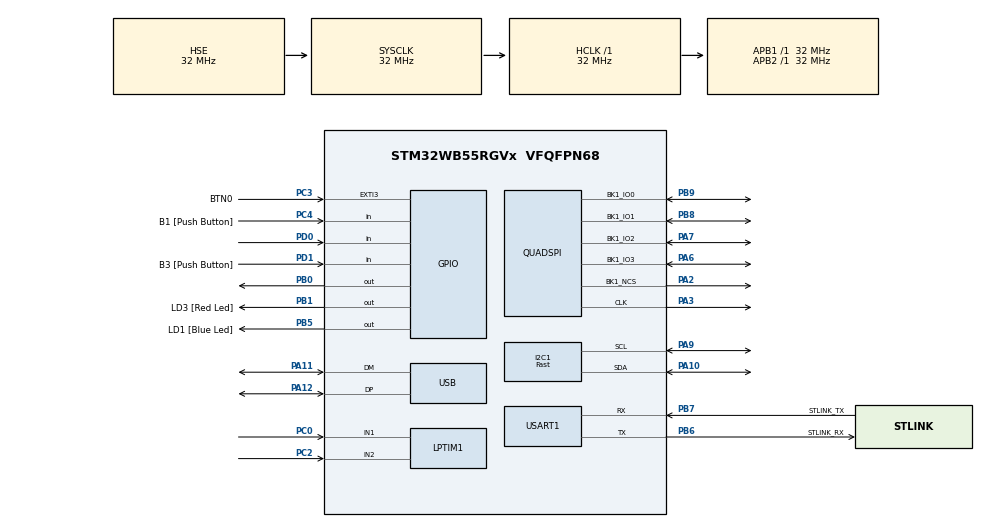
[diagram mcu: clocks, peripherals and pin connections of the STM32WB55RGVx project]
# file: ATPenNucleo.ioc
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I2C1.I2C_Speed_Mode=I2C_Fast
I2C1.Timing=0x00300F38
LPTIM1.ULPClockPolarity=LPTIM_CLOCKPOLARITY_RISING_FALLING
LPTIM1.ULPClockSampleTime=LPTIM_CLOCKSAMPLETIME_2TRANSITIONS
LPTIM1.UpdateMode=LPTIM_UPDATE_ENDOFPERIOD
Mcu.Family=STM32WB
Mcu.Name=STM32WB55RGVx
Mcu.Package=VFQFPN68
NVIC.EXTI3_IRQn=true\:0\:0\:false\:false\:true\:true\:true
NVIC.HSEM_IRQn=true\:0\:0\:false\:false\:true\:false\:true
NVIC.LPTIM1_IRQn=true\:0\:0\:false\:false\:true\:true\:true
NVIC.PriorityGroup=NVIC_PRIORITYGROUP_4
NVIC.USB_LP_IRQn=true\:0\:0\:false\:false\:true\:false\:true
OSC_IN.Mode=HSE-External-Oscillator
OSC_IN.Signal=RCC_OSC_IN
OSC_OUT.Mode=HSE-External-Oscillator
OSC_OUT.Signal=RCC_OSC_OUT
PA10.Mode=I2C
PA10.Signal=I2C1_SDA
PA11.Mode=Device
PA11.Signal=USB_DM
PA12.Mode=Device
PA12.Signal=USB_DP
PA13.GPIO_Label=JTMS
PA13.Mode=Trace_Asynchronous_SW
PA13.Signal=SYS_JTMS-SWDIO
PA14.GPIO_Label=JTCK
PA14.Mode=Trace_Asynchronous_SW
PA14.Signal=SYS_JTCK-SWCLK
PA2.Mode=Single Bank 1
PA2.Signal=QUADSPI_BK1_NCS
PA3.Mode=Single Bank 1
PA3.Signal=QUADSPI_CLK
PA6.Mode=Single Bank 1
PA6.Signal=QUADSPI_BK1_IO3
PA7.Mode=Single Bank 1
PA7.Signal=QUADSPI_BK1_IO2
PA9.Mode=I2C
PA9.Signal=I2C1_SCL
PB0.Signal=GPIO_Output
PB1.GPIO_Label=LD3 [Red Led]
PB1.Signal=GPIO_Output
PB3.GPIO_Label=JTDO
PB3.Mode=Trace_Asynchronous_SW
PB3.Signal=SYS_JTDO-SWO
PB5.GPIO_Label=LD1 [Blue Led]
PB5.Signal=GPIO_Output
PB6.GPIO_Label=STLINK_RX
PB6.GPIO_PuPd=GPIO_PULLUP
PB6.Mode=Asynchronous
PB6.Signal=USART1_TX
PB7.GPIO_Label=STLINK_TX
PB7.GPIO_PuPd=GPIO_PULLUP
PB7.Mode=Asynchronous
PB7.Signal=USART1_RX
PB8.Mode=Single Bank 1
PB8.Signal=QUADSPI_BK1_IO1
PB9.Mode=Single Bank 1
PB9.Signal=QUADSPI_BK1_IO0
PC0.Mode=Encoder_mode_occur1
PC0.Signal=LPTIM1_IN1
PC13.Mode=SYS_WakeUp1
PC13.Signal=SYS_WKUP2
PC14-OSC32_IN.Mode=LSE-External-Oscillator
PC14-OSC32_IN.Signal=RCC_OSC32_IN
PC15-OSC32_OUT.Mode=LSE-External-Oscillator
PC15-OSC32_OUT.Signal=RCC_OSC32_OUT
PC2.Mode=Encoder_mode_occur1
PC2.Signal=LPTIM1_IN2
PC3.GPIO_Label=BTN0
PC3.GPIO_ModeDefaultEXTI=GPIO_MODE_IT_FALLING
PC3.Signal=GPXTI3
PC4.GPIO_Label=B1 [Push Button]
PC4.Signal=GPIO_Input
PD0.Signal=GPIO_Input
PD1.GPIO_Label=B3 [Push Button]
PD1.Signal=GPIO_Input
ProjectManager.HeapSize=0x200
ProjectManager.StackSize=0x400
ProjectManager.TargetToolchain=STM32CubeIDE
RCC.ADCFreq_Value=48000000
RCC.AHBFreq_Value=32000000
RCC.APB1Freq_Value=32000000
RCC.APB1TimFreq_Value=32000000
RCC.APB2Freq_Value=32000000
RCC.APB2TimFreq_Value=32000000
RCC.APB3Freq_Value=16000000
RCC.CortexFreq_Value=32000000
RCC.HCLKFreq_Value=32000000
RCC.HSE_VALUE=32000000
RCC.HSI48_VALUE=48000000
RCC.HSI_VALUE=16000000
RCC.LPTIM1CLockSelection=RCC_LPTIM1CLKSOURCE_HSI
RCC.PLLN=32
RCC.PLLSAI1N=24
RCC.RFWKPClockSelection=RCC_RFWKPCLKSOURCE_LSE
RCC.RTCClockSelection=RCC_RTCCLKSOURCE_LSE
RCC.SMPSCLockSelectionVirtual=RCC_SMPSCLKSOURCE_HSI
RCC.SMPSCLockSelectionVirtualVirtual=RCC_SMPSCLKSOURCE_HSI
RCC.SMPSDivider=1
RCC.SYSCLKFreq_VALUE=32000000
RCC.SYSCLKSource=RCC_SYSCLKSOURCE_HSE
RCC.USBFreq_Value=48000000
RCC.VCOOutputFreq_Value=128000000
RF1.Mode=RF1_Activate
RF1.Signal=RF_RF1
RTC.Format=RTC_FORMAT_BIN
RTC.Hours=12
RTC.Minutes=20
RTC.Seconds=0
STM32_WPAN.LOCAL_NAME=ATPen
STM32_WPAN.LOCAL_NAME_FORMATTED=,'A','T','P','e','n'
USART1.VirtualMode-Asynchronous=VM_ASYNC
USART1.WordLength=WORDLENGTH_7B
USB_DEVICE.CLASS_NAME_FS=CDC
USB_DEVICE.USBD_DEBUG_LEVEL=3
USB_DEVICE.VirtualMode=Cdc
USB_DEVICE.VirtualModeFS=Cdc_FS
VP_HSEM_VS_HSEM.Mode=HSEM_Activate
VP_RTC_VS_RTC_Activate.Mode=RTC_Enabled
VP_RTC_VS_RTC_Calendar.Mode=RTC_Calendar
VP_SEQUENCER_VS_SEQUENCER.Mode=SEQUENCER_Enabled
VP_STM32_WPAN_VS_BLE_HOST.Mode=STM32_WPAN_Enabled
VP_TINY_LPM_VS_TINY_LPM.Mode=TINY_LPM_Enabled
VP_USB_DEVICE_VS_USB_DEVICE_CDC_FS.Mode=CDC_FS
board=NUCLEO-WB55RG

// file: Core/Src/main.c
/* USER CODE BEGIN Header */
/**
  ******************************************************************************
  * @file           : main.c
  * @brief          : Main program body
  ******************************************************************************
  * @attention
  *
  * <h2><center>&copy; Copyright (c) 2020 STMicroelectronics.
  * All rights reserved.</center></h2>
  *
  * This software component is licensed by ST under BSD 3-Clause license,
  * the "License"; You may not use this file except in compliance with the
  * License. You may obtain a copy of the License at:
  *                        opensource.org/licenses/BSD-3-Clause
  *
  ******************************************************************************
  */
/* USER CODE END Header */
#include "main.h"
#include "app_entry.h"
#include "app_common.h"
#include "usb_device.h"

/* USER CODE BEGIN Includes */
//#include "Oled/ssd1306.h"
//#include <string.h>
#include "u8g_Driver/u8g_arm.h"
#include "stm32_seq.h"
#include "global.h"
//#include "Oled/ssd1306.h"
//#include "Oled/fonts.h"
//#include "Oled/bitmap.h"
/* USER CODE END Includes */

/* USER CODE BEGIN PTD */
uint8_t counter = 0;
uint8_t bleStatus;
uint8_t ledStatus = 0;
uint8_t menu = 0;
/* USER CODE END PTD */

I2C_HandleTypeDef hi2c1;

LPTIM_HandleTypeDef hlptim1;

QSPI_HandleTypeDef hqspi;

RTC_HandleTypeDef hrtc;

UART_HandleTypeDef huart1;

/* USER CODE BEGIN PV */
//static u8g_t u8g;
/* USER CODE END PV */

void SystemClock_Config(void);
static void MX_GPIO_Init(void);
static void MX_USART1_UART_Init(void);
static void MX_I2C1_Init(void);
static void MX_LPTIM1_Init(void);
static void MX_QUADSPI_Init(void);
static void MX_RF_Init(void);
static void MX_RTC_Init(void);
/* USER CODE BEGIN PFP */
RTC_TimeTypeDef time;
RTC_DateTypeDef date;
/* USER CODE END PFP */

/* USER CODE BEGIN 0 */
void draw(void)
{
	HAL_RTC_GetTime(&hrtc, &time, RTC_FORMAT_BIN);

	char hourStr[5];
	char minuteStr[5];
	int min = time.Minutes;
	int hour = time.Hours;
	if(min < 9)
		sprintf(minuteStr, "0%d\0", min);
	else
		sprintf(minuteStr, "%d\0", min);

	if(hour < 9)
		sprintf(hourStr, "0%d\0", hour);
	else
		sprintf(hourStr, "%d\0", hour);

     u8g_SetFont(&u8g,u8g_font_profont12);
     if(bleStatus == 1)
    	 u8g_DrawBitmap(&u8g, 0, 0, 1, 11, bluetoothIco);

     if(ledStatus == 0)
    	 u8g_DrawBitmap(&u8g, 0, 79, 2, 17, LedOffIco);
     else
    	 u8g_DrawBitmap(&u8g, 0, 79, 2, 17, LedOnIco);

     if(menu == 0)
         u8g_DrawBitmap(&u8g, 4, 44, 2, 32, PenIco);
     else if(menu == 1)
    	 u8g_DrawBitmap(&u8g, 0, 47, 2, 21, UserIco);
     else if(menu == 2)
    	 u8g_DrawBitmap(&u8g, 0, 50, 2, 16, LikeIco);
     else if(menu == 3)
    	 u8g_DrawBitmap(&u8g, 0, 50, 2, 16, SettingsIco);

     u8g_DrawBitmap(&u8g, 12, 0, 1, 11, BatIco);
     u8g_DrawStr(&u8g, 2, 22, hourStr);
     u8g_DrawStr(&u8g, 2, 34, minuteStr);
     // u8g_DrawBitmap(&u8g, 1, 80, 2, 15, HomeIco);

     counter++;
   //  u8g_DrawFrame(&u8g, 0, 0, 16, 96);
}
/* USER CODE END 0 */

int main(void)
{

  /* MCU Configuration--------------------------------------------------------*/

  /* Reset of all peripherals, Initializes the Flash interface and the Systick. */
  HAL_Init();

  /* Configure the system clock */
  SystemClock_Config();

  /* Initialize all configured peripherals */
  MX_GPIO_Init();
  MX_USART1_UART_Init();
  MX_I2C1_Init();
  MX_LPTIM1_Init();
  MX_QUADSPI_Init();
  MX_RF_Init();
  MX_RTC_Init();
  MX_USB_Device_Init();
  /* USER CODE BEGIN 2 */
  HAL_LPTIM_Encoder_Start(&hlptim1, 3);
  HAL_LPTIM_Encoder_Start_IT(&hlptim1, 3);
  u8g_InitComFn(&u8g, &u8g_dev_ssd1306_128x32_i2c, u8g_com_hw_i2c_fn); //here we init our u8glib driver
  u8g_SetRot90(&u8g);
  /* USER CODE END 2 */

  /* Init code for STM32_WPAN */
  APPE_Init();
  /* Infinite loop */
  /* USER CODE BEGIN WHILE */
  //ssd1306_Init();
  while (1)
  {
	  UTIL_SEQ_Run( UTIL_SEQ_DEFAULT );
	u8g_FirstPage(&u8g);
	do
	{
		draw();
	}
	while (u8g_NextPage(&u8g));
	u8g_Delay(10);

	//LPTIM1->CNT
	//int count = LPTIM1->CNT;
	//char str[50];
	//sprintf(str, "test%d\0", encoderValue);
	//ssd1306_Fill(Black);
	//ssd1306_SetCursor(0, 0);
	//ssd1306_WriteString(str, Font_6x8, White);
	//ssd1306_UpdateScreen();

	//  UTIL_SEQ_Run( UTIL_SEQ_DEFAULT );
    /* USER CODE END WHILE */

  }
}

void SystemClock_Config(void)
{
  RCC_OscInitTypeDef RCC_OscInitStruct = {0};
  RCC_ClkInitTypeDef RCC_ClkInitStruct = {0};
  RCC_PeriphCLKInitTypeDef PeriphClkInitStruct = {0};

  /** Macro to configure the PLL multiplication factor
  */
  __HAL_RCC_PLL_PLLM_CONFIG(RCC_PLLM_DIV1);
  /** Macro to configure the PLL clock source
  */
  __HAL_RCC_PLL_PLLSOURCE_CONFIG(RCC_PLLSOURCE_MSI);
  /** Configure LSE Drive Capability
  */
  HAL_PWR_EnableBkUpAccess();
  __HAL_RCC_LSEDRIVE_CONFIG(RCC_LSEDRIVE_LOW);
  /** Configure the main internal regulator output voltage
  */
  __HAL_PWR_VOLTAGESCALING_CONFIG(PWR_REGULATOR_VOLTAGE_SCALE1);
  /** Initializes the RCC Oscillators according to the specified parameters
  * in the RCC_OscInitTypeDef structure.
  */
  RCC_OscInitStruct.OscillatorType = RCC_OSCILLATORTYPE_HSI|RCC_OSCILLATORTYPE_HSE
                              |RCC_OSCILLATORTYPE_LSE|RCC_OSCILLATORTYPE_MSI;
  RCC_OscInitStruct.HSEState = RCC_HSE_ON;
  RCC_OscInitStruct.LSEState = RCC_LSE_ON;
  RCC_OscInitStruct.HSIState = RCC_HSI_ON;
  RCC_OscInitStruct.MSIState = RCC_MSI_ON;
  RCC_OscInitStruct.HSICalibrationValue = RCC_HSICALIBRATION_DEFAULT;
  RCC_OscInitStruct.MSICalibrationValue = RCC_MSICALIBRATION_DEFAULT;
  RCC_OscInitStruct.MSIClockRange = RCC_MSIRANGE_6;
  RCC_OscInitStruct.PLL.PLLState = RCC_PLL_NONE;
  if (HAL_RCC_OscConfig(&RCC_OscInitStruct) != HAL_OK)
  {
    Error_Handler();
  }
  /** Configure the SYSCLKSource, HCLK, PCLK1 and PCLK2 clocks dividers
  */
  RCC_ClkInitStruct.ClockType = RCC_CLOCKTYPE_HCLK4|RCC_CLOCKTYPE_HCLK2
                              |RCC_CLOCKTYPE_HCLK|RCC_CLOCKTYPE_SYSCLK
                              |RCC_CLOCKTYPE_PCLK1|RCC_CLOCKTYPE_PCLK2;
  RCC_ClkInitStruct.SYSCLKSource = RCC_SYSCLKSOURCE_HSE;
  RCC_ClkInitStruct.AHBCLKDivider = RCC_SYSCLK_DIV1;
  RCC_ClkInitStruct.APB1CLKDivider = RCC_HCLK_DIV1;
  RCC_ClkInitStruct.APB2CLKDivider = RCC_HCLK_DIV1;
  RCC_ClkInitStruct.AHBCLK2Divider = RCC_SYSCLK_DIV1;
  RCC_ClkInitStruct.AHBCLK4Divider = RCC_SYSCLK_DIV1;

  if (HAL_RCC_ClockConfig(&RCC_ClkInitStruct, FLASH_LATENCY_1) != HAL_OK)
  {
    Error_Handler();
  }
  /** Initializes the peripherals clocks
  */
  PeriphClkInitStruct.PeriphClockSelection = RCC_PERIPHCLK_SMPS|RCC_PERIPHCLK_RFWAKEUP
                              |RCC_PERIPHCLK_RTC|RCC_PERIPHCLK_USART1
                              |RCC_PERIPHCLK_LPTIM1|RCC_PERIPHCLK_I2C1
                              |RCC_PERIPHCLK_USB;
  PeriphClkInitStruct.PLLSAI1.PLLN = 24;
  PeriphClkInitStruct.PLLSAI1.PLLP = RCC_PLLP_DIV2;
  PeriphClkInitStruct.PLLSAI1.PLLQ = RCC_PLLQ_DIV2;
  PeriphClkInitStruct.PLLSAI1.PLLR = RCC_PLLR_DIV2;
  PeriphClkInitStruct.PLLSAI1.PLLSAI1ClockOut = RCC_PLLSAI1_USBCLK;
  PeriphClkInitStruct.Usart1ClockSelection = RCC_USART1CLKSOURCE_PCLK2;
  PeriphClkInitStruct.I2c1ClockSelection = RCC_I2C1CLKSOURCE_PCLK1;
  PeriphClkInitStruct.Lptim1ClockSelection = RCC_LPTIM1CLKSOURCE_HSI;
  PeriphClkInitStruct.UsbClockSelection = RCC_USBCLKSOURCE_PLLSAI1;
  PeriphClkInitStruct.RTCClockSelection = RCC_RTCCLKSOURCE_LSE;
  PeriphClkInitStruct.RFWakeUpClockSelection = RCC_RFWKPCLKSOURCE_LSE;
  PeriphClkInitStruct.SmpsClockSelection = RCC_SMPSCLKSOURCE_HSI;
  PeriphClkInitStruct.SmpsDivSelection = RCC_SMPSCLKDIV_RANGE0;
  if (HAL_RCCEx_PeriphCLKConfig(&PeriphClkInitStruct) != HAL_OK)
  {
    Error_Handler();
  }
  /** Enable MSI Auto calibration
  */
  HAL_RCCEx_EnableMSIPLLMode();
}

static void MX_I2C1_Init(void)
{

  hi2c1.Instance = I2C1;
  hi2c1.Init.Timing = 0x00300F38;
  hi2c1.Init.OwnAddress1 = 0;
  hi2c1.Init.AddressingMode = I2C_ADDRESSINGMODE_7BIT;
  hi2c1.Init.DualAddressMode = I2C_DUALADDRESS_DISABLE;
  hi2c1.Init.OwnAddress2 = 0;
  hi2c1.Init.OwnAddress2Masks = I2C_OA2_NOMASK;
  hi2c1.Init.GeneralCallMode = I2C_GENERALCALL_DISABLE;
  hi2c1.Init.NoStretchMode = I2C_NOSTRETCH_DISABLE;
  if (HAL_I2C_Init(&hi2c1) != HAL_OK)
  {
    Error_Handler();
  }
  /** Configure Analogue filter
  */
  if (HAL_I2CEx_ConfigAnalogFilter(&hi2c1, I2C_ANALOGFILTER_ENABLE) != HAL_OK)
  {
    Error_Handler();
  }
  /** Configure Digital filter
  */
  if (HAL_I2CEx_ConfigDigitalFilter(&hi2c1, 0) != HAL_OK)
  {
    Error_Handler();
  }

}

static void MX_LPTIM1_Init(void)
{

  hlptim1.Instance = LPTIM1;
  hlptim1.Init.Clock.Source = LPTIM_CLOCKSOURCE_APBCLOCK_LPOSC;
  hlptim1.Init.Clock.Prescaler = LPTIM_PRESCALER_DIV1;
  hlptim1.Init.UltraLowPowerClock.Polarity = LPTIM_CLOCKPOLARITY_RISING_FALLING;
  hlptim1.Init.UltraLowPowerClock.SampleTime = LPTIM_CLOCKSAMPLETIME_2TRANSITIONS;
  hlptim1.Init.Trigger.Source = LPTIM_TRIGSOURCE_SOFTWARE;
  hlptim1.Init.OutputPolarity = LPTIM_OUTPUTPOLARITY_HIGH;
  hlptim1.Init.UpdateMode = LPTIM_UPDATE_ENDOFPERIOD;
  hlptim1.Init.CounterSource = LPTIM_COUNTERSOURCE_EXTERNAL;
  hlptim1.Init.Input1Source = LPTIM_INPUT1SOURCE_GPIO;
  hlptim1.Init.Input2Source = LPTIM_INPUT2SOURCE_GPIO;
  if (HAL_LPTIM_Init(&hlptim1) != HAL_OK)
  {
    Error_Handler();
  }

}

static void MX_QUADSPI_Init(void)
{

  /* QUADSPI parameter configuration*/
  hqspi.Instance = QUADSPI;
  hqspi.Init.ClockPrescaler = 255;
  hqspi.Init.FifoThreshold = 1;
  hqspi.Init.SampleShifting = QSPI_SAMPLE_SHIFTING_NONE;
  hqspi.Init.FlashSize = 1;
  hqspi.Init.ChipSelectHighTime = QSPI_CS_HIGH_TIME_1_CYCLE;
  hqspi.Init.ClockMode = QSPI_CLOCK_MODE_0;
  if (HAL_QSPI_Init(&hqspi) != HAL_OK)
  {
    Error_Handler();
  }

}

static void MX_RF_Init(void)
{

}

static void MX_RTC_Init(void)
{

  RTC_TimeTypeDef sTime = {0};
  RTC_DateTypeDef sDate = {0};

  /** Initialize RTC Only
  */
  hrtc.Instance = RTC;
  hrtc.Init.HourFormat = RTC_HOURFORMAT_24;
  hrtc.Init.AsynchPrediv = CFG_RTC_ASYNCH_PRESCALER;
  hrtc.Init.SynchPrediv = CFG_RTC_SYNCH_PRESCALER;
  hrtc.Init.OutPut = RTC_OUTPUT_DISABLE;
  hrtc.Init.OutPutPolarity = RTC_OUTPUT_POLARITY_HIGH;
  hrtc.Init.OutPutType = RTC_OUTPUT_TYPE_OPENDRAIN;
  hrtc.Init.OutPutRemap = RTC_OUTPUT_REMAP_NONE;
  if (HAL_RTC_Init(&hrtc) != HAL_OK)
  {
    Error_Handler();
  }

  /** Initialize RTC and set the Time and Date
  */
  sTime.Hours = 12;
  sTime.Minutes = 20;
  sTime.Seconds = 0;
  sTime.SubSeconds = 0x0;
  sTime.DayLightSaving = RTC_DAYLIGHTSAVING_NONE;
  sTime.StoreOperation = RTC_STOREOPERATION_RESET;
  if (HAL_RTC_SetTime(&hrtc, &sTime, RTC_FORMAT_BIN) != HAL_OK)
  {
    Error_Handler();
  }
  sDate.WeekDay = RTC_WEEKDAY_MONDAY;
  sDate.Month = RTC_MONTH_JANUARY;
  sDate.Date = 1;
  sDate.Year = 0;

  if (HAL_RTC_SetDate(&hrtc, &sDate, RTC_FORMAT_BIN) != HAL_OK)
  {
    Error_Handler();
  }

}

static void MX_USART1_UART_Init(void)
{

  huart1.Instance = USART1;
  huart1.Init.BaudRate = 115200;
  huart1.Init.WordLength = UART_WORDLENGTH_7B;
  huart1.Init.StopBits = UART_STOPBITS_1;
  huart1.Init.Parity = UART_PARITY_NONE;
  huart1.Init.Mode = UART_MODE_TX_RX;
  huart1.Init.HwFlowCtl = UART_HWCONTROL_NONE;
  huart1.Init.OverSampling = UART_OVERSAMPLING_16;
  huart1.Init.OneBitSampling = UART_ONE_BIT_SAMPLE_DISABLE;
  huart1.Init.ClockPrescaler = UART_PRESCALER_DIV1;
  huart1.AdvancedInit.AdvFeatureInit = UART_ADVFEATURE_NO_INIT;
  if (HAL_UART_Init(&huart1) != HAL_OK)
  {
    Error_Handler();
  }
  if (HAL_UARTEx_SetTxFifoThreshold(&huart1, UART_TXFIFO_THRESHOLD_1_8) != HAL_OK)
  {
    Error_Handler();
  }
  if (HAL_UARTEx_SetRxFifoThreshold(&huart1, UART_RXFIFO_THRESHOLD_1_8) != HAL_OK)
  {
    Error_Handler();
  }
  if (HAL_UARTEx_DisableFifoMode(&huart1) != HAL_OK)
  {
    Error_Handler();
  }

}

static void MX_GPIO_Init(void)
{
  GPIO_InitTypeDef GPIO_InitStruct = {0};

  /* GPIO Ports Clock Enable */
  __HAL_RCC_GPIOC_CLK_ENABLE();
  __HAL_RCC_GPIOB_CLK_ENABLE();
  __HAL_RCC_GPIOA_CLK_ENABLE();
  __HAL_RCC_GPIOD_CLK_ENABLE();

  /*Configure GPIO pin Output Level */
  HAL_GPIO_WritePin(GPIOB, GPIO_PIN_0|LD3_Pin|LD1_Pin, GPIO_PIN_RESET);

  /*Configure GPIO pin : BTN0_Pin */
  GPIO_InitStruct.Pin = BTN0_Pin;
  GPIO_InitStruct.Mode = GPIO_MODE_IT_FALLING;
  GPIO_InitStruct.Pull = GPIO_NOPULL;
  HAL_GPIO_Init(BTN0_GPIO_Port, &GPIO_InitStruct);

  /*Configure GPIO pin : B1_Pin */
  GPIO_InitStruct.Pin = B1_Pin;
  GPIO_InitStruct.Mode = GPIO_MODE_INPUT;
  GPIO_InitStruct.Pull = GPIO_NOPULL;
  HAL_GPIO_Init(B1_GPIO_Port, &GPIO_InitStruct);

  /*Configure GPIO pins : PB0 LD3_Pin LD1_Pin */
  GPIO_InitStruct.Pin = GPIO_PIN_0|LD3_Pin|LD1_Pin;
  GPIO_InitStruct.Mode = GPIO_MODE_OUTPUT_PP;
  GPIO_InitStruct.Pull = GPIO_NOPULL;
  GPIO_InitStruct.Speed = GPIO_SPEED_FREQ_LOW;
  HAL_GPIO_Init(GPIOB, &GPIO_InitStruct);

  /*Configure GPIO pins : PD0 B3_Pin */
  GPIO_InitStruct.Pin = GPIO_PIN_0|B3_Pin;
  GPIO_InitStruct.Mode = GPIO_MODE_INPUT;
  GPIO_InitStruct.Pull = GPIO_NOPULL;
  HAL_GPIO_Init(GPIOD, &GPIO_InitStruct);

  /* EXTI interrupt init*/
  HAL_NVIC_SetPriority(EXTI3_IRQn, 0, 0);
  HAL_NVIC_EnableIRQ(EXTI3_IRQn);

}

void Error_Handler(void)
{
}

/************************ (C) COPYRIGHT STMicroelectronics *****END OF FILE****/
